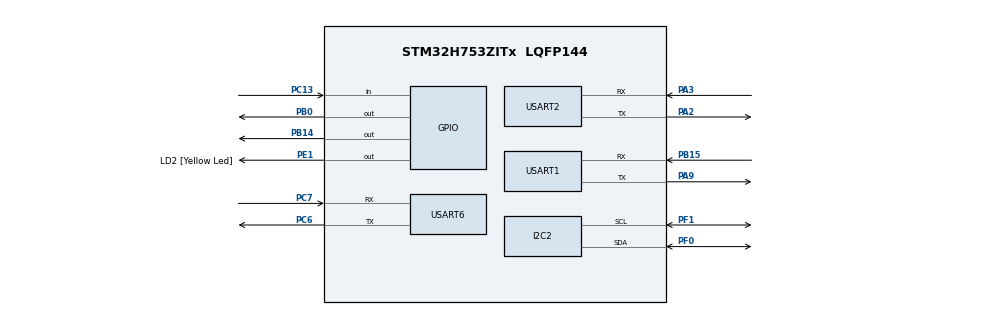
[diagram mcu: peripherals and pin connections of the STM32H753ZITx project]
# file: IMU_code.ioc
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CORTEX_M7.CPU_DCache=Disabled
CORTEX_M7.CPU_ICache=Disabled
CORTEX_M7.MPU_Control=__NULL
CORTEX_M7.default_mode_Activation=1
Mcu.Family=STM32H7
Mcu.Name=STM32H753ZITx
Mcu.Package=LQFP144
NUCLEO-H753ZI.BUTTON=1
NUCLEO-H753ZI.LD1=true
NUCLEO-H753ZI.LD2=true
NUCLEO-H753ZI.LD3=true
NUCLEO-H753ZI.VCP=true
NVIC.EXTI15_10_IRQn=true\:0\:0\:false\:false\:true\:false\:true\:true
NVIC.PriorityGroup=NVIC_PRIORITYGROUP_4
PA2.Mode=Asynchronous
PA2.Signal=USART2_TX
PA3.Mode=Asynchronous
PA3.Signal=USART2_RX
PA9.Mode=Asynchronous
PA9.Signal=USART1_TX
PB0.Signal=GPIO_Output
PB14.Signal=GPIO_Output
PB15.Mode=Asynchronous
PB15.Signal=USART1_RX
PC13.Signal=GPIO_Input
PC14-OSC32_IN\ (OSC32_IN).Signal=RCC_OSC32_IN
PC15-OSC32_OUT\ (OSC32_OUT).Signal=RCC_OSC32_OUT
PC6.Mode=Asynchronous
PC6.Signal=USART6_TX
PC7.Mode=Asynchronous
PC7.Signal=USART6_RX
PD8.Signal=USART3_TX
PD9.Signal=USART3_RX
PE1.GPIO_Label=LD2 [Yellow Led]
PE1.Signal=GPIO_Output
PF0.Mode=I2C
PF0.Signal=I2C2_SDA
PF1.Mode=I2C
PF1.Signal=I2C2_SCL
PH0-OSC_IN\ (PH0).Signal=RCC_OSC_IN
PH1-OSC_OUT\ (PH1).Signal=RCC_OSC_OUT
ProjectManager.HeapSize=0x200
ProjectManager.StackSize=0x400
ProjectManager.TargetToolchain=STM32CubeIDE
RCC.ADCFreq_Value=129000000
RCC.APB1Freq_Value=64000000
RCC.APB2Freq_Value=64000000
RCC.APB3Freq_Value=64000000
RCC.APB4Freq_Value=64000000
RCC.CortexFreq_Value=64000000
RCC.DIVM1=1
RCC.DIVN1=24
RCC.DIVQ1=4
RCC.HCLKFreq_Value=64000000
RCC.HSE_VALUE=8000000
RCC.PLLFRACN=0
RCC.PWR_Regulator_Voltage_Scale=PWR_REGULATOR_VOLTAGE_SCALE2
RCC.SYSCLKFreq_VALUE=64000000
RCC.USBFreq_Value=384000000
USART1.VirtualMode-Asynchronous=VM_ASYNC
USART2.VirtualMode-Asynchronous=VM_ASYNC
USART6.VirtualMode-Asynchronous=VM_ASYNC
VP_MEMORYMAP_VS_MEMORYMAP.Mode=CurAppReg
VP_NUCLEO-H753ZI_VS_BSP_COMMON.Mode=COMMON
board=NUCLEO-H753ZI

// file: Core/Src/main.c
	/* USER CODE BEGIN Header */
	/**
	  ******************************************************************************
	  * @file           : main.c
	  * @brief          : Main program body
	  ******************************************************************************
	  * @attention
	  *
	  * Copyright (c) 2025 STMicroelectronics.
	  * All rights reserved.
	  *
	  * This software is licensed under terms that can be found in the LICENSE file
	  * in the root directory of this software component.
	  * If no LICENSE file comes with this software, it is provided AS-IS.
	  *
	  ******************************************************************************
	  */
	/* USER CODE END Header */
	/* Includes ------------------------------------------------------------------*/
	#include "main.h"
	#include "imu.h"
	#include <stdio.h>
	#include <stdarg.h>
	#include <string.h>
	/* Private includes ----------------------------------------------------------*/
	/* USER CODE BEGIN Includes */
	#define GPS_I2C_ADDR (0x10 << 1)

	uint8_t rx_byte;
	char gps_data[128];
	#define MAX_IMG_SIZE 30000
	uint8_t img_buffer[MAX_IMG_SIZE];// or larger if you need more image space

	/* USER CODE END Includes */

	/* Private typedef -----------------------------------------------------------*/

	/* Private define ------------------------------------------------------------*/

	/* Private macro -------------------------------------------------------------*/

	/* Private variables ---------------------------------------------------------*/

	COM_InitTypeDef BspCOMInit;

	I2C_HandleTypeDef hi2c2;

	UART_HandleTypeDef huart1;
	UART_HandleTypeDef huart2;
	UART_HandleTypeDef huart6;

	/* Private function prototypes -----------------------------------------------*/
	void SystemClock_Config(void);
	static void MX_GPIO_Init(void);
	static void MX_I2C2_Init(void);
	static void MX_USART2_UART_Init(void);
	static void MX_USART1_UART_Init(void);
	static void MX_USART6_UART_Init(void);

	/* Private user code ---------------------------------------------------------*/
	/* USER CODE BEGIN 0 */
	void read_gps_gnrmc(char* gps_buf, size_t len) {
		memset(gps_buf, 0, len);
		char c;
		int i = 0;
		int found_dollar = 0;

		while (1) {
			HAL_I2C_Master_Receive(&hi2c2, GPS_I2C_ADDR, (uint8_t*)&c, 1, HAL_MAX_DELAY);

			if (c == '$') {
				i = 0;
				found_dollar = 1;
			}

			if (found_dollar && i < len - 1) {
				gps_buf[i++] = c;

				if (c == '\n' && strstr(gps_buf, "$GNRMC") != NULL) {
					gps_buf[i] = '\0';
					break;
				}
			}
		}
	}
	/* USER CODE END 0 */

	/**
	  * @brief  The application entry point.
	  * @retval int
	  */
	int main(void)
	{

	  /* MCU Configuration--------------------------------------------------------*/

	  /* Reset of all peripherals, Initializes the Flash interface and the Systick. */
	  HAL_Init();

	  /* Configure the system clock */
	  SystemClock_Config();

	  /* Initialize all configured peripherals */
	  MX_GPIO_Init();
	  MX_I2C2_Init();
	  MX_USART2_UART_Init();
	  MX_USART1_UART_Init();
	  MX_USART6_UART_Init();

	  /* Initialize leds */
	  BSP_LED_Init(LED_GREEN);
	  BSP_LED_Init(LED_BLUE);
	  BSP_LED_Init(LED_RED);

	  /* Initialize USER push-button, will be used to trigger an interrupt each time it's pressed.*/
	  BSP_PB_Init(BUTTON_USER, BUTTON_MODE_EXTI);

	  /* Initialize COM1 port (115200, 8 bits (7-bit data + 1 stop bit), no parity */
	  BspCOMInit.BaudRate   = 115200;
	  BspCOMInit.WordLength = COM_WORDLENGTH_8B;
	  BspCOMInit.StopBits   = COM_STOPBITS_1;
	  BspCOMInit.Parity     = COM_PARITY_NONE;
	  BspCOMInit.HwFlowCtl  = COM_HWCONTROL_NONE;
	  if (BSP_COM_Init(COM1, &BspCOMInit) != BSP_ERROR_NONE)
	  {
		Error_Handler();
	  }

	  /* Infinite loop */
	  /* USER CODE BEGIN WHILE */
	  printf("System initialized. Waiting for OpenMV data...\n");

	  while (1)
	  {
	      // --- 1. Wait for "START" marker ---
	      uint8_t marker[5];
	      HAL_UART_Receive(&huart1, marker, 5, HAL_MAX_DELAY);
	      if (memcmp(marker, "START", 5) != 0) continue;

	      // --- 2. Receive size (4 bytes) ---
	      uint8_t size_buf[4];
	      HAL_UART_Receive(&huart1, size_buf, 4, HAL_MAX_DELAY);
	      uint32_t img_size = (size_buf[0]<<24) | (size_buf[1]<<16) | (size_buf[2]<<8) | size_buf[3];
	      if (img_size > MAX_IMG_SIZE) continue;

	      // --- 3. Receive JPEG image ---
	      HAL_UART_Receive(&huart1, img_buffer, img_size, HAL_MAX_DELAY);

	      // --- 4. Read END marker (3 bytes) ---
	      uint8_t end_marker[3];
	      HAL_UART_Receive(&huart1, end_marker, 3, HAL_MAX_DELAY);
	      if (memcmp(end_marker, "END", 3) != 0) continue;

	      // --- 5. Forward full frame to RPi via USART6 ---
	      HAL_UART_Transmit(&huart6, (uint8_t*)"START", 5, HAL_MAX_DELAY);
	      HAL_UART_Transmit(&huart6, size_buf, 4, HAL_MAX_DELAY);
	      HAL_UART_Transmit(&huart6, img_buffer, img_size, HAL_MAX_DELAY);
	      HAL_UART_Transmit(&huart6, (uint8_t*)"END", 3, HAL_MAX_DELAY);
	  }
	}

	/**
	  * @brief System Clock Configuration
	  * @retval None
	  */
	void SystemClock_Config(void)
	{
	  RCC_OscInitTypeDef RCC_OscInitStruct = {0};
	  RCC_ClkInitTypeDef RCC_ClkInitStruct = {0};

	  /** Supply configuration update enable
	  */
	  HAL_PWREx_ConfigSupply(PWR_LDO_SUPPLY);

	  /** Configure the main internal regulator output voltage
	  */
	  __HAL_PWR_VOLTAGESCALING_CONFIG(PWR_REGULATOR_VOLTAGE_SCALE2);

	  while(!__HAL_PWR_GET_FLAG(PWR_FLAG_VOSRDY)) {}

	  /** Initializes the RCC Oscillators according to the specified parameters
	  * in the RCC_OscInitTypeDef structure.
	  */
	  RCC_OscInitStruct.OscillatorType = RCC_OSCILLATORTYPE_HSI;
	  RCC_OscInitStruct.HSIState = RCC_HSI_DIV1;
	  RCC_OscInitStruct.HSICalibrationValue = RCC_HSICALIBRATION_DEFAULT;
	  RCC_OscInitStruct.PLL.PLLState = RCC_PLL_NONE;
	  if (HAL_RCC_OscConfig(&RCC_OscInitStruct) != HAL_OK)
	  {
		Error_Handler();
	  }

	  /** Initializes the CPU, AHB and APB buses clocks
	  */
	  RCC_ClkInitStruct.ClockType = RCC_CLOCKTYPE_HCLK|RCC_CLOCKTYPE_SYSCLK
								  |RCC_CLOCKTYPE_PCLK1|RCC_CLOCKTYPE_PCLK2
								  |RCC_CLOCKTYPE_D3PCLK1|RCC_CLOCKTYPE_D1PCLK1;
	  RCC_ClkInitStruct.SYSCLKSource = RCC_SYSCLKSOURCE_HSI;
	  RCC_ClkInitStruct.SYSCLKDivider = RCC_SYSCLK_DIV1;
	  RCC_ClkInitStruct.AHBCLKDivider = RCC_HCLK_DIV1;
	  RCC_ClkInitStruct.APB3CLKDivider = RCC_APB3_DIV1;
	  RCC_ClkInitStruct.APB1CLKDivider = RCC_APB1_DIV1;
	  RCC_ClkInitStruct.APB2CLKDivider = RCC_APB2_DIV1;
	  RCC_ClkInitStruct.APB4CLKDivider = RCC_APB4_DIV1;

	  if (HAL_RCC_ClockConfig(&RCC_ClkInitStruct, FLASH_LATENCY_1) != HAL_OK)
	  {
		Error_Handler();
	  }
	}

	/**
	  * @brief I2C2 Initialization Function
	  * @param None
	  * @retval None
	  */
	static void MX_I2C2_Init(void)
	{

	  hi2c2.Instance = I2C2;
	  hi2c2.Init.Timing = 0x10707DBC;
	  hi2c2.Init.OwnAddress1 = 0;
	  hi2c2.Init.AddressingMode = I2C_ADDRESSINGMODE_7BIT;
	  hi2c2.Init.DualAddressMode = I2C_DUALADDRESS_DISABLE;
	  hi2c2.Init.OwnAddress2 = 0;
	  hi2c2.Init.OwnAddress2Masks = I2C_OA2_NOMASK;
	  hi2c2.Init.GeneralCallMode = I2C_GENERALCALL_DISABLE;
	  hi2c2.Init.NoStretchMode = I2C_NOSTRETCH_DISABLE;
	  if (HAL_I2C_Init(&hi2c2) != HAL_OK)
	  {
		Error_Handler();
	  }

	  /** Configure Analogue filter
	  */
	  if (HAL_I2CEx_ConfigAnalogFilter(&hi2c2, I2C_ANALOGFILTER_ENABLE) != HAL_OK)
	  {
		Error_Handler();
	  }

	  /** Configure Digital filter
	  */
	  if (HAL_I2CEx_ConfigDigitalFilter(&hi2c2, 0) != HAL_OK)
	  {
		Error_Handler();
	  }

	}

	/**
	  * @brief USART1 Initialization Function
	  * @param None
	  * @retval None
	  */
	static void MX_USART1_UART_Init(void)
	{

	  huart1.Instance = USART1;
	  huart1.Init.BaudRate = 115200;
	  huart1.Init.WordLength = UART_WORDLENGTH_8B;
	  huart1.Init.StopBits = UART_STOPBITS_1;
	  huart1.Init.Parity = UART_PARITY_NONE;
	  huart1.Init.Mode = UART_MODE_TX_RX;
	  huart1.Init.HwFlowCtl = UART_HWCONTROL_NONE;
	  huart1.Init.OverSampling = UART_OVERSAMPLING_16;
	  huart1.Init.OneBitSampling = UART_ONE_BIT_SAMPLE_DISABLE;
	  huart1.Init.ClockPrescaler = UART_PRESCALER_DIV1;
	  huart1.AdvancedInit.AdvFeatureInit = UART_ADVFEATURE_NO_INIT;
	  if (HAL_UART_Init(&huart1) != HAL_OK)
	  {
		Error_Handler();
	  }
	  if (HAL_UARTEx_SetTxFifoThreshold(&huart1, UART_TXFIFO_THRESHOLD_1_8) != HAL_OK)
	  {
		Error_Handler();
	  }
	  if (HAL_UARTEx_SetRxFifoThreshold(&huart1, UART_RXFIFO_THRESHOLD_1_8) != HAL_OK)
	  {
		Error_Handler();
	  }
	  if (HAL_UARTEx_DisableFifoMode(&huart1) != HAL_OK)
	  {
		Error_Handler();
	  }

	}

	/**
	  * @brief USART2 Initialization Function
	  * @param None
	  * @retval None
	  */
	static void MX_USART2_UART_Init(void)
	{

	  huart2.Instance = USART2;
	  huart2.Init.BaudRate = 115200;
	  huart2.Init.WordLength = UART_WORDLENGTH_8B;
	  huart2.Init.StopBits = UART_STOPBITS_1;
	  huart2.Init.Parity = UART_PARITY_NONE;
	  huart2.Init.Mode = UART_MODE_TX_RX;
	  huart2.Init.HwFlowCtl = UART_HWCONTROL_NONE;
	  huart2.Init.OverSampling = UART_OVERSAMPLING_16;
	  huart2.Init.OneBitSampling = UART_ONE_BIT_SAMPLE_DISABLE;
	  huart2.Init.ClockPrescaler = UART_PRESCALER_DIV1;
	  huart2.AdvancedInit.AdvFeatureInit = UART_ADVFEATURE_NO_INIT;
	  if (HAL_UART_Init(&huart2) != HAL_OK)
	  {
		Error_Handler();
	  }
	  if (HAL_UARTEx_SetTxFifoThreshold(&huart2, UART_TXFIFO_THRESHOLD_1_8) != HAL_OK)
	  {
		Error_Handler();
	  }
	  if (HAL_UARTEx_SetRxFifoThreshold(&huart2, UART_RXFIFO_THRESHOLD_1_8) != HAL_OK)
	  {
		Error_Handler();
	  }
	  if (HAL_UARTEx_DisableFifoMode(&huart2) != HAL_OK)
	  {
		Error_Handler();
	  }

	}

	/**
	  * @brief USART6 Initialization Function
	  * @param None
	  * @retval None
	  */
	static void MX_USART6_UART_Init(void)
	{

	  huart6.Instance = USART6;
	  huart6.Init.BaudRate = 115200;
	  huart6.Init.WordLength = UART_WORDLENGTH_8B;
	  huart6.Init.StopBits = UART_STOPBITS_1;
	  huart6.Init.Parity = UART_PARITY_NONE;
	  huart6.Init.Mode = UART_MODE_TX_RX;
	  huart6.Init.HwFlowCtl = UART_HWCONTROL_NONE;
	  huart6.Init.OverSampling = UART_OVERSAMPLING_16;
	  huart6.Init.OneBitSampling = UART_ONE_BIT_SAMPLE_DISABLE;
	  huart6.Init.ClockPrescaler = UART_PRESCALER_DIV1;
	  huart6.AdvancedInit.AdvFeatureInit = UART_ADVFEATURE_NO_INIT;
	  if (HAL_UART_Init(&huart6) != HAL_OK)
	  {
		Error_Handler();
	  }
	  if (HAL_UARTEx_SetTxFifoThreshold(&huart6, UART_TXFIFO_THRESHOLD_1_8) != HAL_OK)
	  {
		Error_Handler();
	  }
	  if (HAL_UARTEx_SetRxFifoThreshold(&huart6, UART_RXFIFO_THRESHOLD_1_8) != HAL_OK)
	  {
		Error_Handler();
	  }
	  if (HAL_UARTEx_DisableFifoMode(&huart6) != HAL_OK)
	  {
		Error_Handler();
	  }

	}

	/**
	  * @brief GPIO Initialization Function
	  * @param None
	  * @retval None
	  */
	static void MX_GPIO_Init(void)
	{
	  GPIO_InitTypeDef GPIO_InitStruct = {0};

	  /* GPIO Ports Clock Enable */
	  __HAL_RCC_GPIOC_CLK_ENABLE();
	  __HAL_RCC_GPIOF_CLK_ENABLE();
	  __HAL_RCC_GPIOH_CLK_ENABLE();
	  __HAL_RCC_GPIOA_CLK_ENABLE();
	  __HAL_RCC_GPIOB_CLK_ENABLE();
	  __HAL_RCC_GPIOE_CLK_ENABLE();

	  /*Configure GPIO pin Output Level */
	  HAL_GPIO_WritePin(LD2_GPIO_Port, LD2_Pin, GPIO_PIN_RESET);

	  /*Configure GPIO pin : LD2_Pin */
	  GPIO_InitStruct.Pin = LD2_Pin;
	  GPIO_InitStruct.Mode = GPIO_MODE_OUTPUT_PP;
	  GPIO_InitStruct.Pull = GPIO_NOPULL;
	  GPIO_InitStruct.Speed = GPIO_SPEED_FREQ_LOW;
	  HAL_GPIO_Init(LD2_GPIO_Port, &GPIO_InitStruct);

	}

	/**
	  * @brief  This function is executed in case of error occurrence.
	  * @retval None
	  */
	void Error_Handler(void)
	{
	  __disable_irq();
	  while (1)
	  {
	  }
	}

	#ifdef  USE_FULL_ASSERT
	/**
	  * @brief  Reports the name of the source file and the source line number
	  *         where the assert_param error has occurred.
	  * @param  file: pointer to the source file name
	  * @param  line: assert_param error line source number
	  * @retval None
	  */
	void assert_failed(uint8_t *file, uint32_t line)
	{
	}
	#endif /* USE_FULL_ASSERT */
